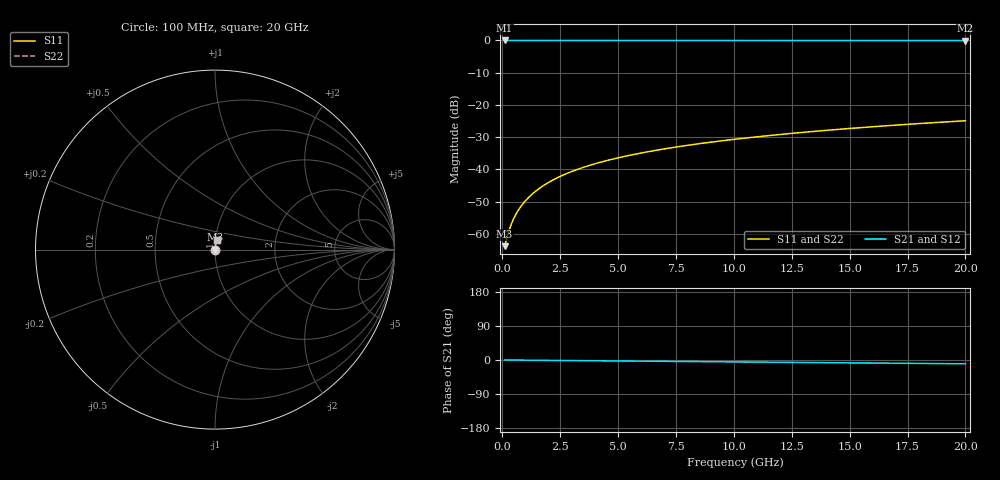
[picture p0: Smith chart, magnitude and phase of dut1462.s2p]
! Touchstone file exported from HFSS 2026.1.0
!  File:  C:/ffzhzh/LocalFiles/Ansys_Project_Files/temp_train_TSV_1462_1783198136_43440.aedt
!  Generated:  04:51:07 AM Jul  5, 2026
!  Design:  TSV
!  Project:  temp_train_TSV_1462_1783198136_43440
! Variables:
!  h_bsmrdl = 2um
!  h_ox = 20um
!  h_rdl = 5um
!  h_sub = 99.49um
!  h_tmrdl = 5um
!  h_tsv = 99.49um
!  h_via = 3um
!  l_bsmrdl = 300um
!  l_sub = 409.34um
!  l_tmrdl = 200um
!  m_sub = 200um
!  pitch = 31.12um
!  r_tsv = 4.67um
!  s_tmrdl = 10um
!  w_bsmrdl = 18um
!  w_sub = 500um
!  w_tmrdl = 12um
!  x_tsv_center1 = 206um
!  x_tsv_center2 = 524um
!  x_tsv_center3 = 736um
!  x_tsv_center4 = 1054um
!  x_tsv_center5 = 1266um
!  x_tsv_center6 = 1584um
# GHz S MA R 50.000000
! Terminal data exported
! Port[1] = TSV1_1_T1
! Port[2] = TSV1_1_T2
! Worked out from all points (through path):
!   200 points, 100 MHz to 20 GHz, reference 50 ohm
!   highest |S21| = 0.00 dB at 100 MHz (marker M1); lowest = 0.0 dB at 20 GHz (marker M2)
!   group delay of S21, straight-line fit = 1.38 ps
!   lowest |S11| = -63.8 dB at 100 MHz (marker M3), VSWR 1.00, Z = 50.1 + j0.0338 ohm
!   |S11| at or under -10 dB: start of sweep to end of sweep
!   |S22| runs from -63.8 to -24.9 dB; largest |S21 - S12| = 4.6e-15
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0.1  0.0006466 31.4  0.9994 -0.1  0.9994 -0.1  0.0006466 31.4
! Gamma 0 0 0 0
! Port Impedance 50 0 50 0
0.2  0.0008771 49.9  0.9994 -0.1  0.9994 -0.1  0.0008771 49.9
0.3  0.001157 59.7  0.9994 -0.2  0.9994 -0.2  0.001157 59.7
0.4  0.001452 65.3  0.9994 -0.2  0.9994 -0.2  0.001452 65.3
0.5  0.001753 69.0  0.9994 -0.3  0.9994 -0.3  0.001753 69.0
0.6  0.002055 71.5  0.9994 -0.3  0.9994 -0.3  0.002055 71.5
0.8  0.00266 74.9  0.9993 -0.4  0.9993 -0.4  0.00266 74.9
1.1  0.00357 77.8  0.9993 -0.6  0.9993 -0.6  0.00357 77.8
1.3  0.004177 79.0  0.9992 -0.7  0.9992 -0.7  0.004177 79.0
1.6  0.005088 80.2  0.9992 -0.8  0.9992 -0.8  0.005088 80.2
2.1  0.006602 81.3  0.9991 -1.1  0.9991 -1.1  0.006602 81.3
2.7  0.008404 81.9  0.999 -1.4  0.999 -1.4  0.008404 81.9
3.5  0.01078 82.2  0.9988 -1.8  0.9988 -1.8  0.01078 82.2
4.2  0.01283 82.3  0.9987 -2.1  0.9987 -2.1  0.01283 82.3
5  0.01514 82.2  0.9985 -2.5  0.9985 -2.5  0.01514 82.2
5.9  0.01771 82.0  0.9983 -3.0  0.9983 -3.0  0.01771 82.0
6.8  0.02027 81.9  0.9981 -3.4  0.9981 -3.4  0.02027 81.9
8.3  0.0245 81.5  0.9979 -4.2  0.9979 -4.2  0.0245 81.5
10.1  0.02955 81.0  0.9975 -5.1  0.9975 -5.1  0.02955 81.0
13.4  0.03875 79.9  0.9969 -6.7  0.9969 -6.7  0.03875 79.9
16.7  0.04788 78.6  0.9963 -8.4  0.9963 -8.4  0.04788 78.6
20  0.0569 77.2  0.9955 -10.0  0.9955 -10.0  0.0569 77.2
